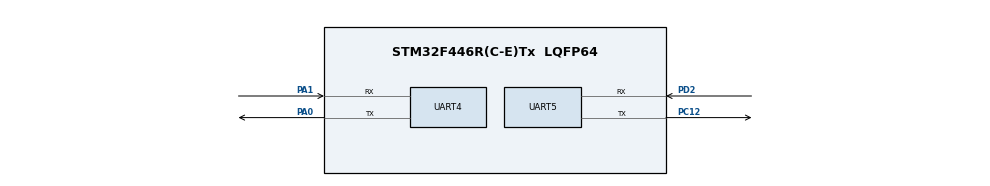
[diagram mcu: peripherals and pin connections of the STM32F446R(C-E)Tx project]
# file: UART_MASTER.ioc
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Mcu.Family=STM32F4
Mcu.Name=STM32F446R(C-E)Tx
Mcu.Package=LQFP64
NVIC.PriorityGroup=NVIC_PRIORITYGROUP_4
NVIC.UART4_IRQn=true\:2\:0\:true\:false\:true\:true\:true\:true
NVIC.UART5_IRQn=true\:1\:0\:true\:false\:true\:true\:true\:true
PA0-WKUP.Mode=Asynchronous
PA0-WKUP.Signal=UART4_TX
PA1.Mode=Asynchronous
PA1.Signal=UART4_RX
PA13.Mode=Serial_Wire
PA13.Signal=SYS_JTMS-SWDIO
PA14.Mode=Serial_Wire
PA14.Signal=SYS_JTCK-SWCLK
PC12.Mode=Asynchronous
PC12.Signal=UART5_TX
PD2.Mode=Asynchronous
PD2.Signal=UART5_RX
ProjectManager.HeapSize=0x200
ProjectManager.StackSize=0x400
ProjectManager.TargetToolchain=STM32CubeIDE
RCC.CortexFreq_Value=16000000
RCC.USBFreq_Value=96000000
RCC.VCOOutputFreq_Value=192000000
UART4.VirtualMode=Asynchronous
UART5.VirtualMode=Asynchronous
board=custom

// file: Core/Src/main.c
/* USER CODE BEGIN Header */
/**
  ******************************************************************************
  * @file           : main.c
  * @brief          : Main program body
  ******************************************************************************
  * @attention
  *
  * Copyright (c) 2022 STMicroelectronics.
  * All rights reserved.
  *
  * This software is licensed under terms that can be found in the LICENSE file
  * in the root directory of this software component.
  * If no LICENSE file comes with this software, it is provided AS-IS.
  *
  ******************************************************************************
  */
/* USER CODE END Header */
#include "main.h"
#include "stdio.h"
#include "string.h"

/* USER CODE BEGIN PTD */
uint8_t    	rx4_flag = 0;
uint8_t 	rx5_flag = 0;
uint8_t 	rx4_data;
uint8_t 	rx5_data;
/* USER CODE END PTD */

UART_HandleTypeDef huart4;
UART_HandleTypeDef huart5;

void SystemClock_Config(void);
static void MX_GPIO_Init(void);
static void MX_UART4_Init(void);
static void MX_UART5_Init(void);

/* USER CODE BEGIN 0 */
void HAL_UART_RxCpltCallback(UART_HandleTypeDef *huart) {
	if (huart->Instance == UART4) {
		if(rx4_data == '1'){
			if(rx5_flag == 1)
			{
				uint8_t Test[] = "0"; //Data to send
				HAL_UART_Transmit(&huart4,Test,sizeof(Test),10);// Sending in normal mode
				HAL_UART_Transmit(&huart5,Test,sizeof(Test),10);// Sending in normal mode
				rx4_flag = 0;
				rx5_flag = 0;
			}
			else
			{
				rx4_flag = 1;
			}
		}
		HAL_UART_Receive_IT(&huart4, &rx4_data, 1);
	}
	if (huart->Instance == UART5) {
		if(rx5_data == '1'){
			if(rx4_flag == 1)
			{
				uint8_t Test[] = "0"; //Data to send
				HAL_UART_Transmit(&huart4,Test,sizeof(Test),10);// Sending in normal mode
				HAL_UART_Transmit(&huart5,Test,sizeof(Test),10);// Sending in normal mode
				rx4_flag = 0;
				rx5_flag = 0;
			}
			else
			{
				rx5_flag = 1;
			}
		}
		HAL_UART_Receive_IT(&huart5, &rx5_data, 1);
	}
}
/* USER CODE END 0 */

int main(void)
{

  /* MCU Configuration--------------------------------------------------------*/

  /* Reset of all peripherals, Initializes the Flash interface and the Systick. */
  HAL_Init();

  /* Configure the system clock */
  SystemClock_Config();

  /* Initialize all configured peripherals */
  MX_GPIO_Init();
  MX_UART4_Init();
  MX_UART5_Init();
  /* USER CODE BEGIN 2 */
  HAL_UART_Receive_IT(&huart4, &rx4_data, 1);
  HAL_UART_Receive_IT(&huart5, &rx5_data, 1);

  uint8_t Test[] = "0"; //Data to send
  HAL_UART_Transmit(&huart5,Test,sizeof(Test),10);// Sending in normal mode
  HAL_UART_Transmit(&huart4,Test,sizeof(Test),10);// Sending in normal mode
//  HAL_Delay(100);

//  HAL_Delay(5000);
  /* USER CODE END 2 */

  /* Infinite loop */
  while (1)
  {

  }
}

void SystemClock_Config(void)
{
  RCC_OscInitTypeDef RCC_OscInitStruct = {0};
  RCC_ClkInitTypeDef RCC_ClkInitStruct = {0};

  /** Configure the main internal regulator output voltage
  */
  __HAL_RCC_PWR_CLK_ENABLE();
  __HAL_PWR_VOLTAGESCALING_CONFIG(PWR_REGULATOR_VOLTAGE_SCALE3);

  /** Initializes the RCC Oscillators according to the specified parameters
  * in the RCC_OscInitTypeDef structure.
  */
  RCC_OscInitStruct.OscillatorType = RCC_OSCILLATORTYPE_HSI;
  RCC_OscInitStruct.HSIState = RCC_HSI_ON;
  RCC_OscInitStruct.HSICalibrationValue = RCC_HSICALIBRATION_DEFAULT;
  RCC_OscInitStruct.PLL.PLLState = RCC_PLL_NONE;
  if (HAL_RCC_OscConfig(&RCC_OscInitStruct) != HAL_OK)
  {
    Error_Handler();
  }

  /** Initializes the CPU, AHB and APB buses clocks
  */
  RCC_ClkInitStruct.ClockType = RCC_CLOCKTYPE_HCLK|RCC_CLOCKTYPE_SYSCLK
                              |RCC_CLOCKTYPE_PCLK1|RCC_CLOCKTYPE_PCLK2;
  RCC_ClkInitStruct.SYSCLKSource = RCC_SYSCLKSOURCE_HSI;
  RCC_ClkInitStruct.AHBCLKDivider = RCC_SYSCLK_DIV1;
  RCC_ClkInitStruct.APB1CLKDivider = RCC_HCLK_DIV1;
  RCC_ClkInitStruct.APB2CLKDivider = RCC_HCLK_DIV1;

  if (HAL_RCC_ClockConfig(&RCC_ClkInitStruct, FLASH_LATENCY_0) != HAL_OK)
  {
    Error_Handler();
  }
}

static void MX_UART4_Init(void)
{

  huart4.Instance = UART4;
  huart4.Init.BaudRate = 115200;
  huart4.Init.WordLength = UART_WORDLENGTH_8B;
  huart4.Init.StopBits = UART_STOPBITS_1;
  huart4.Init.Parity = UART_PARITY_NONE;
  huart4.Init.Mode = UART_MODE_TX_RX;
  huart4.Init.HwFlowCtl = UART_HWCONTROL_NONE;
  huart4.Init.OverSampling = UART_OVERSAMPLING_16;
  if (HAL_UART_Init(&huart4) != HAL_OK)
  {
    Error_Handler();
  }

}

static void MX_UART5_Init(void)
{

  huart5.Instance = UART5;
  huart5.Init.BaudRate = 115200;
  huart5.Init.WordLength = UART_WORDLENGTH_8B;
  huart5.Init.StopBits = UART_STOPBITS_1;
  huart5.Init.Parity = UART_PARITY_NONE;
  huart5.Init.Mode = UART_MODE_TX_RX;
  huart5.Init.HwFlowCtl = UART_HWCONTROL_NONE;
  huart5.Init.OverSampling = UART_OVERSAMPLING_16;
  if (HAL_UART_Init(&huart5) != HAL_OK)
  {
    Error_Handler();
  }

}

static void MX_GPIO_Init(void)
{

  /* GPIO Ports Clock Enable */
  __HAL_RCC_GPIOA_CLK_ENABLE();
  __HAL_RCC_GPIOC_CLK_ENABLE();
  __HAL_RCC_GPIOD_CLK_ENABLE();

}

void Error_Handler(void)
{
  __disable_irq();
  while (1)
  {
  }
}
